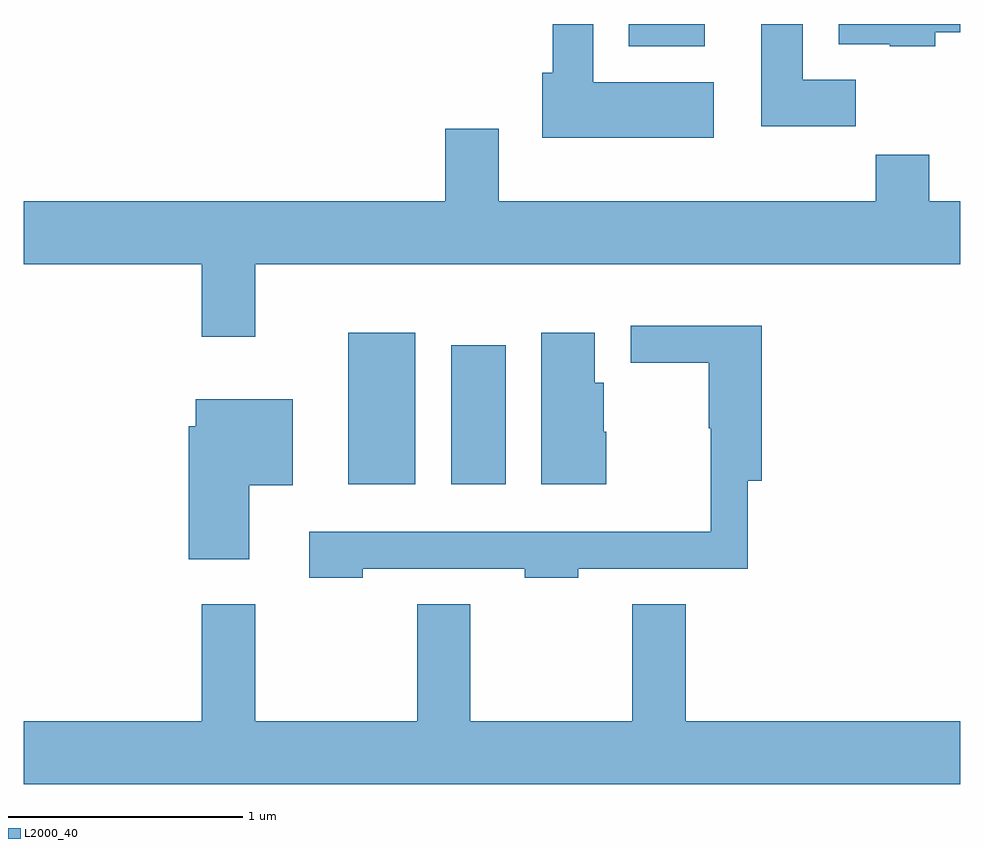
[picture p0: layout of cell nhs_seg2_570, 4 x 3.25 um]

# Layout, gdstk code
import gdstk
lib = gdstk.Library(unit=1e-6, precision=1e-09)
def R(c, l, rs):  # rectangles x0, y0, x1, y1
    for r in rs: c.add(gdstk.rectangle(r[:2], r[2:], *l))
def P(c, l, *ps):  # polygons
    for p in ps: c.add(gdstk.Polygon(p, *l))
L2000_40 = (2000, 40)

nhs_seg2_570 = lib.new_cell('nhs_seg2_570')
R(nhs_seg2_570, L2000_40, [(202.996,1031.836,203.284,1032.484), (203.436,1031.836,203.669,1032.429), (204.196,1033.706,204.519,1033.802)])
P(nhs_seg2_570, L2000_40, [(205.504,1033.766),(205.611,1033.766),(205.611,1033.802),(205.091,1033.802),(205.091,1033.716),(205.31,1033.716),(205.31,1033.706),(205.504,1033.706)],
  [(204.559,1033.554),(204.044,1033.554),(204.044,1033.802),(203.871,1033.802),(203.871,1033.594),(203.826,1033.594),(203.826,1033.316),(204.559,1033.316)],
  [(205.164,1033.564),(204.939,1033.564),(204.939,1033.802),(204.761,1033.802),(204.761,1033.366),(205.164,1033.366)],
  [(202.599,1032.776),(205.611,1032.776),(205.611,1033.044),(205.479,1033.044),(205.479,1033.244),(205.251,1033.244),(205.251,1033.044),(203.639,1033.044),(203.639,1033.354),(203.411,1033.354),(203.411,1033.044),(201.611,1033.044),(201.611,1032.776),(202.371,1032.776),(202.371,1032.466),(202.599,1032.466)],
  [(203.059,1031.476),(203.751,1031.476),(203.751,1031.436),(203.979,1031.436),(203.979,1031.476),(204.704,1031.476),(204.704,1031.851),(204.764,1031.851),(204.764,1032.514),(204.203,1032.514),(204.203,1032.356),(204.536,1032.356),(204.536,1032.075),(204.546,1032.075),(204.546,1031.634),(202.831,1031.634),(202.831,1031.436),(203.059,1031.436)],
  [(204.099,1032.06),(204.089,1032.06),(204.089,1032.269),(204.049,1032.269),(204.049,1032.484),(203.821,1032.484),(203.821,1031.836),(204.099,1031.836)],
  [(202.574,1031.831),(202.759,1031.831),(202.759,1032.199),(202.346,1032.199),(202.346,1032.084),(202.316,1032.084),(202.316,1031.516),(202.574,1031.516)],
  [(205.611,1030.824),(204.439,1030.824),(204.439,1031.324),(204.211,1031.324),(204.211,1030.824),(203.519,1030.824),(203.519,1031.324),(203.291,1031.324),(203.291,1030.824),(202.599,1030.824),(202.599,1031.324),(202.371,1031.324),(202.371,1030.824),(201.611,1030.824),(201.611,1030.556),(205.611,1030.556)])

lib.write_gds('nhs_seg2_570.gds')
